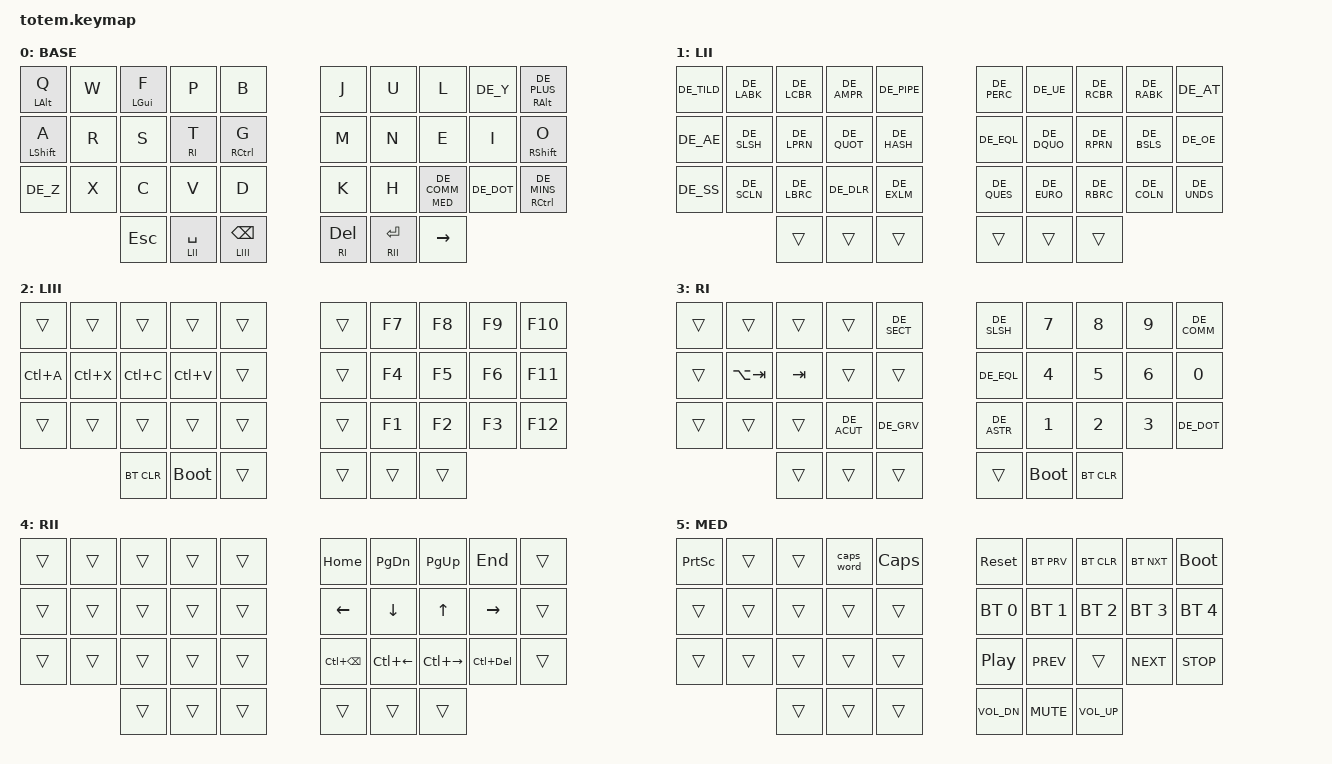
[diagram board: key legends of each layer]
#include <behaviors.dtsi>
#include <dt-bindings/zmk/keys.h>
#include <dt-bindings/zmk/bt.h>
#include <dt-bindings/zmk/outputs.h>
#
#define HOST_OS 1
#include "german-keymap.h"

#define XXX &none
#define ___ &trans

#define BASE 0
#define LII  1
#define LIII 2
#define RI   3
#define RII  4
#define MED 5

&mt {
  quick-tap-ms = <175>;
  global-quick-tap;
  flavor = "balanced";
  tapping-term-ms = <200>;
};

/ {
keymap { 
  compatible = "zmk,keymap";
  // ▄▄▄▄▄▄▄▄▄▄▄▄▄▄▄▄▄▄▄▄▄▄▄▄▄▄▄▄▄▄▄▄▄▄▄▄▄▄▄▄▄▄▄▄▄▄▄▄▄▄▄▄▄▄▄▄▄▄▄▄▄▄▄▄▄▄▄▄▄▄▄▄▄▄▄▄▄▄▄▄▄▄▄▄▄▄▄▄▄▄▄▄▄▄▄▄▄▄▄▄▄▄▄▄▄▄▄▄▄▄▄▄▄▄▄▄▄▄▄▄▄▄▄▄▄▄▄▄▄▄▄▄▄▄▄▄▄▄▄▄▄▄▄▄▄▄▄▄▄
base_layer  {
//  ┏━━━━━━━━━━━━━━━━━━━━━━━━━━━━━━━━━━━━━━━┓
    label= "BASE"                           ;
//  ┗━━━━━━━━━━━━━━━━━━━━━━━━━━━━━━━━━━━━━━━┛
bindings = <
//  ┏━━━━━━━━━━━┳━━━━━━━━━━━┳━━━━━━━━━━━┳━━━━━━━━━━━┳━━━━━━━━━━━┓   ┏━━━━━━━━━━━┳━━━━━━━━━━━┳━━━━━━━━━━━┳━━━━━━━━━━-┳━━━━━━━━━━━┓
//  ┃   A_Q     ┃     W     ┃     F     ┃     P     ┃     B     ┃   ┃     J     ┃     U     ┃     L     ┃       Y   ┃   A_+     ┃
    &mt LALT Q    &kp W       &mt LGUI F  &kp P       &kp B           &kp J       &kp U       &kp L      &kp DE_Y    &mt RALT DE_PLUS
//  ┣━━━━━━━━━━━╋━━━━━━━━━━━╋━━━━━━━━━━━╋━━━━━━━━━━━╋━━━━━━━━━━━┫   ┣━━━━━━━━━━━╋━━━━━━━━━━━╋━━━━━━━━━━━╋━━━━━━━━━━━╋━━━━━━━━━━━┫
//  ┃   S_A     ┃     R     ┃     S     ┃     T     ┃   C_G     ┃   ┃     M     ┃     N     ┃     E     ┃     I     ┃   S_O     ┃
    &mt LSHIFT A  &kp R       &kp S       &lt RI T   &mt RCTRL G      &kp M       &kp N       &kp E       &kp I       &mt RSHIFT O      
//  ┣━━━━━━━━━━━╋━━━━━━━━━━━╋━━━━━━━━━━━╋━━━━━━━━━━━╋━━━━━━━━━━━┫   ┣━━━━━━━━━━━╋━━━━━━━━━━━╋━━━━━━━━━━━╋━━━━━━━━━━━╋━━━━━━━━━━━┫
//  ┃     Z     ┃     X     ┃     C     ┃     V     ┃     D     ┃   ┃     K     ┃     H     ┃     ,     ┃     .     ┃   C_-     ┃
     &kp DE_Z     &kp X       &kp C       &kp V       &kp D           &kp K      &kp H &lt MED DE_COMM    &kp DE_DOT &mt RCTRL DE_MINS
//  ┗━━━━━━━━━━━┻━━━━━━━━━━━╋━━━━━━━━━━━╋━━━━━━━━━━━╋━━━━━━━━━━━┫   ┣━━━━━━━━━━━╋━━━━━━━━━━━╋━━━━━━━━━━━╋━━━━━━━━━━━┻━━━━━━━━━━━┛
//                          ┃   ESC     ┃     SPACE ┃     BSPC  ┃   ┃ DELETE    ┃  RETURN   ┃  RGHT     ┃
                            &kp ESC     &lt LII SPACE &lt LIII BSPC &lt RI DEL   &lt RII RET  &kp RIGHT    
//                          ┗━━━━━━━━━━━┻━━━━━━━━━━━┻━━━━━━━━━━━┛   ┗━━━━━━━━━━━┻━━━━━━━━━━━┻━━━━━━━━━━━┛
>;
};
// ▄▄▄▄▄▄▄▄▄▄▄▄▄▄▄▄▄▄▄▄▄▄▄▄▄▄▄▄▄▄▄▄▄▄▄▄▄▄▄▄▄▄▄▄▄▄▄▄▄▄▄▄▄▄▄▄▄▄▄▄▄▄▄▄▄▄▄▄▄▄▄▄▄▄▄▄▄▄▄▄▄▄▄▄▄▄▄▄▄▄▄▄▄▄▄▄▄▄▄▄▄▄▄▄▄▄▄▄▄▄▄▄▄▄▄▄▄▄▄▄▄▄▄▄▄▄▄▄▄▄▄▄▄▄▄▄▄▄▄▄▄▄▄▄▄▄▄▄▄

lii_layer {
//  ┏━━━━━━━━━━━━━━━━━━━━━━━━━━━━━━━━━━━━━━━┓
    label= "LII"                            ;
//  ┗━━━━━━━━━━━━━━━━━━━━━━━━━━━━━━━━━━━━━━━┛
bindings = <
//  ┏━━━━━━━━━━━┳━━━━━━━━━━━┳━━━━━━━━━━━┳━━━━━━━━━━━┳━━━━━━━━━━━┓   ┏━━━━━━━━━━━┳━━━━━━━━━━━┳━━━━━━━━━━━┳━━━━━━━━━━━┳━━━━━━━━━━━┓
//  ┃     ~     ┃     <     ┃     {     ┃    &      ┃     |     ┃   ┃     %     ┃     ü     ┃     }     ┃     >     ┃     @     ┃
     &kp DE_TILD &kp DE_LABK &kp DE_LCBR &kp DE_AMPR &kp DE_PIPE     &kp DE_PERC   &kp DE_UE   &kp DE_RCBR  &kp DE_RABK &kp DE_AT
//  ┣━━━━━━━━━━━╋━━━━━━━━━━━╋━━━━━━━━━━━╋━━━━━━━━━━━╋━━━━━━━━━━━┫   ┣━━━━━━━━━━━╋━━━━━━━━━━━╋━━━━━━━━━━━╋━━━━━━━━━━━╋━━━━━━━━━━━┫
//  ┃   ä       ┃     SLSH  ┃    (      ┃   '       ┃    HASH   ┃   ┃     =     ┃     "     ┃     )     ┃   BSLS    ┃     ö     ┃
     &kp DE_AE   &kp DE_SLSH &kp DE_LPRN &kp DE_QUOT &kp DE_HASH      &kp DE_EQL &kp DE_DQUO &kp DE_RPRN &kp DE_BSLS  &kp DE_OE
//  ┣━━━━━━━━━━━╋━━━━━━━━━━━╋━━━━━━━━━━━╋━━━━━━━━━━━╋━━━━━━━━━━━┫   ┣━━━━━━━━━━━╋━━━━━━━━━━━╋━━━━━━━━━━━╋━━━━━━━━━━━╋━━━━━━━━━━━┫
//  ┃     ß     ┃    ;      ┃    [      ┃    $      ┃     !     ┃   ┃     ?     ┃     €     ┃     ]     ┃     :     ┃     _     ┃
     &kp DE_SS    &kp DE_SCLN &kp DE_LBRC &kp DE_DLR  &kp DE_EXLM    &kp DE_QUES  &kp DE_EURO &kp DE_RBRC &kp DE_COLN &kp DE_UNDS   
//  ┗━━━━━━━━━━━┻━━━━━━━━━━━╋━━━━━━━━━━━╋━━━━━━━━━━━╋━━━━━━━━━━━┫   ┣━━━━━━━━━━━╋━━━━━━━━━━━╋━━━━━━━━━━━╋━━━━━━━━━━━┻━━━━━━━━━━━┛
//                          ┃           ┃    ---    ┃           ┃   ┃           ┃           ┃           ┃
                                 ___         ___         ___             ___         ___         ___  
//                          ┗━━━━━━━━━━━┻━━━━━━━━━━━┻━━━━━━━━━━━┛   ┗━━━━━━━━━━━┻━━━━━━━━━━━┻━━━━━━━━━━━┛
>;
};
// ▄▄▄▄▄▄▄▄▄▄▄▄▄▄▄▄▄▄▄▄▄▄▄▄▄▄▄▄▄▄▄▄▄▄▄▄▄▄▄▄▄▄▄▄▄▄▄▄▄▄▄▄▄▄▄▄▄▄▄▄▄▄▄▄▄▄▄▄▄▄▄▄▄▄▄▄▄▄▄▄▄▄▄▄▄▄▄▄▄▄▄▄▄▄▄▄▄▄▄▄▄▄▄▄▄▄▄▄▄▄▄▄▄▄▄▄▄▄▄▄▄▄▄▄▄▄▄▄▄▄▄▄▄▄▄▄▄▄▄▄▄▄▄▄▄▄▄▄▄

liii_layer {
//  ┏━━━━━━━━━━━━━━━━━━━━━━━━━━━━━━━━━━━━━━━┓
    label= "LIII"                           ;
//  ┗━━━━━━━━━━━━━━━━━━━━━━━━━━━━━━━━━━━━━━━┛
bindings = <
//  ┏━━━━━━━━━━━┳━━━━━━━━━━━┳━━━━━━━━━━━┳━━━━━━━━━━━┳━━━━━━━━━━━┓   ┏━━━━━━━━━━━┳━━━━━━━━━━━┳━━━━━━━━━━━┳━━━━━━━━━━━┳━━━━━━━━━━━┓
//  ┃           ┃           ┃           ┃           ┃           ┃   ┃           ┃    F7     ┃    F8     ┃    F9     ┃    F10    ┃
         ___         ___         ___         ___         ___             ___     &kp F7      &kp F8      &kp F9      &kp F10
//  ┣━━━━━━━━━━━╋━━━━━━━━━━━╋━━━━━━━━━━━╋━━━━━━━━━━━╋━━━━━━━━━━━┫   ┣━━━━━━━━━━━╋━━━━━━━━━━━╋━━━━━━━━━━━╋━━━━━━━━━━━╋━━━━━━━━━━━┫
//  ┃   C-A     ┃   C-X     ┃   C-C     ┃    C-V    ┃           ┃   ┃           ┃    F4     ┃    F5     ┃    F6     ┃    F11    ┃
      &kp LC(A)   &kp LC(X)   &kp LC(C)   &kp LC(V)      ___             ___     &kp F4      &kp F5      &kp F6      &kp F11  
//  ┣━━━━━━━━━━━╋━━━━━━━━━━━╋━━━━━━━━━━━╋━━━━━━━━━━━╋━━━━━━━━━━━┫   ┣━━━━━━━━━━━╋━━━━━━━━━━━╋━━━━━━━━━━━╋━━━━━━━━━━━╋━━━━━━━━━━━┫
//  ┃           ┃           ┃           ┃           ┃           ┃   ┃           ┃    F1     ┃    F2     ┃    F3     ┃    F12    ┃
         ___          ___         ___        ___         ___             ___     &kp F1      &kp F2      &kp F3      &kp F12           
//  ┗━━━━━━━━━━━┻━━━━━━━━━━━╋━━━━━━━━━━━╋━━━━━━━━━━━╋━━━━━━━━━━━┫   ┣━━━━━━━━━━━╋━━━━━━━━━━━╋━━━━━━━━━━━╋━━━━━━━━━━━┻━━━━━━━━━━━┛
//                          ┃           ┃           ┃     ---   ┃   ┃           ┃           ┃           ┃
                             &bt BT_CLR  &bootloader      ___             ___          ___      ___     
//                          ┗━━━━━━━━━━━┻━━━━━━━━━━━┻━━━━━━━━━━━┛   ┗━━━━━━━━━━━┻━━━━━━━━━━━┻━━━━━━━━━━━┛
>;
};
// ▄▄▄▄▄▄▄▄▄▄▄▄▄▄▄▄▄▄▄▄▄▄▄▄▄▄▄▄▄▄▄▄▄▄▄▄▄▄▄▄▄▄▄▄▄▄▄▄▄▄▄▄▄▄▄▄▄▄▄▄▄▄▄▄▄▄▄▄▄▄▄▄▄▄▄▄▄▄▄▄▄▄▄▄▄▄▄▄▄▄▄▄▄▄▄▄▄▄▄▄▄▄▄▄▄▄▄▄▄▄▄▄▄▄▄▄▄▄▄▄▄▄▄▄▄▄▄▄▄▄▄▄▄▄▄▄▄▄▄▄▄▄▄▄▄▄▄▄▄

ri_layer {
//  ┏━━━━━━━━━━━━━━━━━━━━━━━━━━━━━━━━━━━━━━━┓
    label= "RI"                             ;
//  ┗━━━━━━━━━━━━━━━━━━━━━━━━━━━━━━━━━━━━━━━┛
bindings = <
//  ┏━━━━━━━━━━━┳━━━━━━━━━━━┳━━━━━━━━━━━┳━━━━━━━━━━━┳━━━━━━━━━━━┓   ┏━━━━━━━━━━━┳━━━━━━━━━━━┳━━━━━━━━━━━┳━━━━━━━━━━━┳━━━━━━━━━━━┓
//  ┃           ┃           ┃           ┃           ┃     §     ┃   ┃     /     ┃     7     ┃     8     ┃     9     ┃     ,     ┃
         ___          ___         ___        ___     &kp DE_SECT     &kp DE_SLSH   &kp N7      &kp N8      &kp N9      &kp DE_COMM 
//  ┣━━━━━━━━━━━╋━━━━━━━━━━━╋━━━━━━━━━━━╋━━━━━━━━━━━╋━━━━━━━━━━━┫   ┣━━━━━━━━━━━╋━━━━━━━━━━━╋━━━━━━━━━━━╋━━━━━━━━━━━╋━━━━━━━━━━━┫
//  ┃           ┃           ┃           ┃    XXX    ┃           ┃   ┃     =     ┃     4     ┃     5     ┃     6     ┃     0     ┃
         ___     &kp LA(TAB) &kp TAB     ___         ___          &kp DE_EQL &kp N4      &kp N5      &kp N6      &kp N0 
//  ┣━━━━━━━━━━━╋━━━━━━━━━━━╋━━━━━━━━━━━╋━━━━━━━━━━━╋━━━━━━━━━━━┫   ┣━━━━━━━━━━━╋━━━━━━━━━━━╋━━━━━━━━━━━╋━━━━━━━━━━━╋━━━━━━━━━━━┫
//  ┃           ┃           ┃           ┃     ´     ┃     `     ┃   ┃     *     ┃     1     ┃     2     ┃     3     ┃     .     ┃
         ___          ___         ___    &kp DE_ACUT  &kp DE_GRV     &kp DE_ASTR &kp N1      &kp N2      &kp N3       &kp DE_DOT
//  ┗━━━━━━━━━━━┻━━━━━━━━━━━╋━━━━━━━━━━━╋━━━━━━━━━━━╋━━━━━━━━━━━┫   ┣━━━━━━━━━━━╋━━━━━━━━━━━╋━━━━━━━━━━━╋━━━━━━━━━━━┻━━━━━━━━━━━┛
//                          ┃           ┃           ┃           ┃   ┃    ---    ┃           ┃           ┃
                                 ___         ___         ___             ___      &bootloader &bt BT_CLR
//                          ┗━━━━━━━━━━━┻━━━━━━━━━━━┻━━━━━━━━━━━┛   ┗━━━━━━━━━━━┻━━━━━━━━━━━┻━━━━━━━━━━━┛
>;
};
// ▄▄▄▄▄▄▄▄▄▄▄▄▄▄▄▄▄▄▄▄▄▄▄▄▄▄▄▄▄▄▄▄▄▄▄▄▄▄▄▄▄▄▄▄▄▄▄▄▄▄▄▄▄▄▄▄▄▄▄▄▄▄▄▄▄▄▄▄▄▄▄▄▄▄▄▄▄▄▄▄▄▄▄▄▄▄▄▄▄▄▄▄▄▄▄▄▄▄▄▄▄▄▄▄▄▄▄▄▄▄▄▄▄▄▄▄▄▄▄▄▄▄▄▄▄▄▄▄▄▄▄▄▄▄▄▄▄▄▄▄▄▄▄▄▄▄▄▄▄

// 
rii_layer {
//  ┏━━━━━━━━━━━━━━━━━━━━━━━━━━━━━━━━━━━━━━━┓
    label= "RII"                            ;
//  ┗━━━━━━━━━━━━━━━━━━━━━━━━━━━━━━━━━━━━━━━┛
bindings = <
//  ┏━━━━━━━━━━━┳━━━━━━━━━━━┳━━━━━━━━━━━┳━━━━━━━━━━━┳━━━━━━━━━━━┓   ┏━━━━━━━━━━━┳━━━━━━━━━━━┳━━━━━━━━━━━┳━━━━━━━━━━━┳━━━━━━━━━━━┓
//  ┃           ┃           ┃           ┃           ┃           ┃   ┃     HOME  ┃    PGDN   ┃   PGUP    ┃  END      ┃           ┃ 
         ___          ___         ___        ___         ___          &kp HOME     &kp PG_DN   &kp PG_UP  &kp END         ___     
//  ┣━━━━━━━━━━━╋━━━━━━━━━━━╋━━━━━━━━━━━╋━━━━━━━━━━━╋━━━━━━━━━━━┫   ┣━━━━━━━━━━━╋━━━━━━━━━━━╋━━━━━━━━━━━╋━━━━━━━━━━━╋━━━━━━━━━━━┫
//  ┃           ┃           ┃           ┃           ┃           ┃   ┃   LEFT    ┃    DOWN   ┃    UP     ┃    RIGHT  ┃           ┃
         ___          ___         ___        ___         ___            &kp LEFT     &kp DOWN    &kp UP     &kp RIGHT     ___    
//  ┣━━━━━━━━━━━╋━━━━━━━━━━━╋━━━━━━━━━━━╋━━━━━━━━━━━╋━━━━━━━━━━━┫   ┣━━━━━━━━━━━╋━━━━━━━━━━━╋━━━━━━━━━━━╋━━━━━━━━━━━╋━━━━━━━━━━━┫
//  ┃           ┃           ┃           ┃           ┃           ┃   ┃  C-BSPC   ┃ C-LEFT    ┃ C_RGHT    ┃  C_DEL    ┃  DLINE    ┃
         ___          ___         ___        ___         ___       &kp LC(BSPC) &kp LC(LEFT) &kp LC(RIGHT) &kp LC(DEL)   ___ 
//  ┗━━━━━━━━━━━┻━━━━━━━━━━━╋━━━━━━━━━━━╋━━━━━━━━━━━╋━━━━━━━━━━━┫   ┣━━━━━━━━━━━╋━━━━━━━━━━━╋━━━━━━━━━━━╋━━━━━━━━━━━┻━━━━━━━━━━━┛
//                          ┃           ┃           ┃           ┃   ┃           ┃    ---    ┃           ┃
                                 ___         ___         ___             ___         ___         ___  
//                          ┗━━━━━━━━━━━┻━━━━━━━━━━━┻━━━━━━━━━━━┛   ┗━━━━━━━━━━━┻━━━━━━━━━━━┻━━━━━━━━━━━┛
>;
};
// ▄▄▄▄▄▄▄▄▄▄▄▄▄▄▄▄▄▄▄▄▄▄▄▄▄▄▄▄▄▄▄▄▄▄▄▄▄▄▄▄▄▄▄▄▄▄▄▄▄▄▄▄▄▄▄▄▄▄▄▄▄▄▄▄▄▄▄▄▄▄▄▄▄▄▄▄▄▄▄▄▄▄▄▄▄▄▄▄▄▄▄▄▄▄▄▄▄▄▄▄▄▄▄▄▄▄▄▄▄▄▄▄▄▄▄▄▄▄▄▄▄▄▄▄▄▄▄▄▄▄▄▄▄▄▄▄▄▄▄▄▄▄▄▄▄▄▄▄▄

med_layer {
//  ┏━━━━━━━━━━━━━━━━━━━━━━━━━━━━━━━━━━━━━━━┓
    label= "MED"                          ;
//  ┗━━━━━━━━━━━━━━━━━━━━━━━━━━━━━━━━━━━━━━━┛
bindings = <
//  ┏━━━━━━━━━━━┳━━━━━━━━━━━┳━━━━━━━━━━━┳━━━━━━━━━━━┳━━━━━━━━━━━┓   ┏━━━━━━━━━━━┳━━━━━━━━━━━┳━━━━━━━━━━━┳━━━━━━━━━━━┳━━━━━━━━━━━┓
//  ┃  PRN SCRN ┃           ┃   M UP    ┃           ┃   CAPS    ┃   ┃   RESET   ┃   BT PRV  ┃ BT CLEAR  ┃  BT NXT   ┃BOOTLOADER ┃
       &kp PSCRN     ___         ___      &caps_word   &kp CAPS      &sys_reset   &bt BT_PRV   &bt BT_CLR &bt BT_NXT   &bootloader         
//  ┣━━━━━━━━━━━╋━━━━━━━━━━━╋━━━━━━━━━━━╋━━━━━━━━━━━╋━━━━━━━━━━━┫   ┣━━━━━━━━━━━╋━━━━━━━━━━━╋━━━━━━━━━━━╋━━━━━━━━━━━╋━━━━━━━━━━━┫
//  ┃           ┃  M RIGHT  ┃   M DOWN  ┃  M RIGHT  ┃           ┃   ┃    B1     ┃    B2     ┃    B3     ┃    B4     ┃    B5     ┃
         ___         ___         ___        ___          ___       &bt BT_SEL 0 &bt BT_SEL 1 &bt BT_SEL 2 &bt BT_SEL 3 &bt BT_SEL 4 
//  ┣━━━━━━━━━━━╋━━━━━━━━━━━╋━━━━━━━━━━━╋━━━━━━━━━━━╋━━━━━━━━━━━┫   ╋━━━━━━━━━━━╋━━━━━━━━━━━╋━━━━━━━━━━━╋━━━━━━━━━━━╋━━━━━━━━━━━┫
//  ┃           ┃           ┃           ┃           ┃           ┃   ┃ PLAY PAUSE┃  PREV     ┃    XXX    ┃  NEXT     ┃   STOP    ┃
         ___         ___         ___         ___         ___          &kp C_PP   &kp C_PREV      ___      &kp C_NEXT  &kp C_STOP  
//  ┗━━━━━━━━━━━┻━━━━━━━━━━━╋━━━━━━━━━━━╋━━━━━━━━━━━╋━━━━━━━━━━━┫   ┻━━━━━━━━━━━┻━━━━━━━━━━━╋━━━━━━━━━━━╋━━━━━━━━━━━╋━━━━━━━━━━━┛
//                          ┃  M BTN3   ┃ M BTN 2   ┃  M BTN 1  ┃   ┃ VOL DOWN  ┃  MUTE     ┃  VOL UP   ┃
                                 ___         ___         ___           &kp C_VOL_DN &kp C_MUTE   &kp C_VOL_UP 
//                          ┗━━━━━━━━━━━┻━━━━━━━━━━━┻━━━━━━━━━━━┛   ┗━━━━━━━━━━━┻━━━━━━━━━━━┻━━━━━━━━━━━┛
>;
};
// ▄▄▄▄▄▄▄▄▄▄▄▄▄▄▄▄▄▄▄▄▄▄▄▄▄▄▄▄▄▄▄▄▄▄▄▄▄▄▄▄▄▄▄▄▄▄▄▄▄▄▄▄▄▄▄▄▄▄▄▄▄▄▄▄▄▄▄▄▄▄▄▄▄▄▄▄▄▄▄▄▄▄▄▄▄▄▄▄▄▄▄▄▄▄▄▄▄▄▄▄▄▄▄▄▄▄▄▄▄▄▄▄▄▄▄▄▄▄▄▄▄▄▄▄▄▄▄▄▄▄▄▄▄▄▄▄▄▄▄▄▄▄▄▄▄▄▄▄▄
};
};
